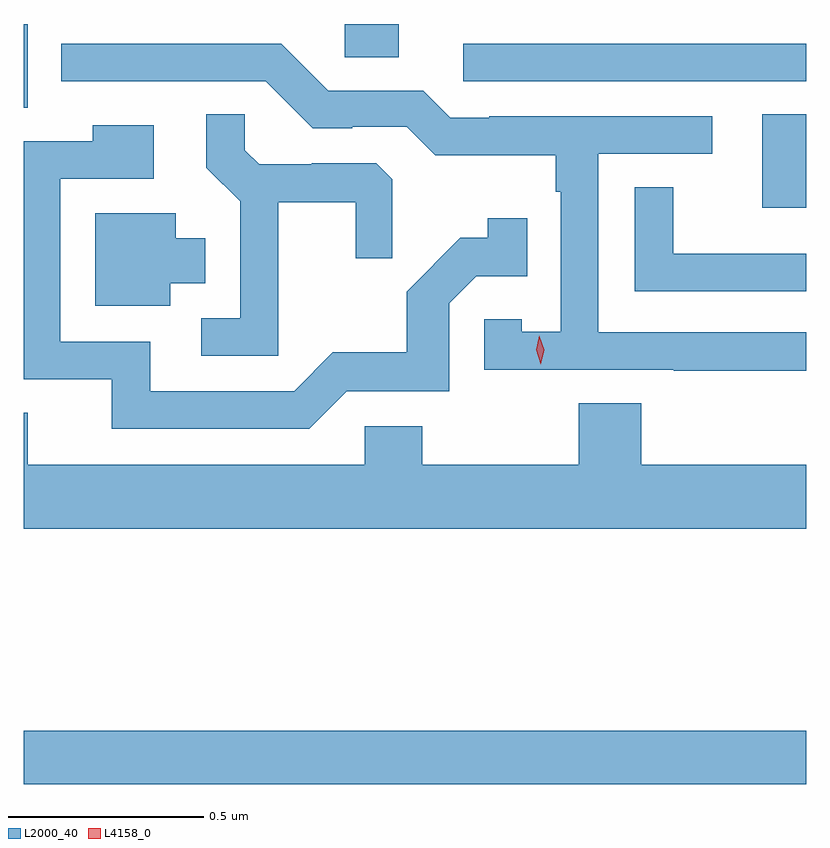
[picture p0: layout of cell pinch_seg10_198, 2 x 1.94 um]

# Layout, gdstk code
import gdstk
lib = gdstk.Library(unit=1e-6, precision=1e-09)
def R(c, l, rs):  # rectangles x0, y0, x1, y1
    for r in rs: c.add(gdstk.rectangle(r[:2], r[2:], *l))
def P(c, l, *ps):  # polygons
    for p in ps: c.add(gdstk.Polygon(p, *l))
L2000_40 = (2000, 40)
L4158_0 = (4158, 0)

pinch_seg10_198 = lib.new_cell('pinch_seg10_198')
R(pinch_seg10_198, L2000_40, [(743,1266.364,745,1266.5), (744.887,1267.836,745,1268.075), (743,1268.092,743.011,1268.306), (744.123,1268.16,745,1268.256), (743.82,1268.221,743.959,1268.306)])
P(pinch_seg10_198, L2000_40, [(745,1267.518),(744.468,1267.518),(744.468,1267.974),(744.76,1267.974),(744.76,1268.07),(744.19,1268.07),(744.19,1268.067),(744.09,1268.067),(744.021,1268.136),(743.778,1268.136),(743.658,1268.256),(743.096,1268.256),(743.096,1268.16),(743.619,1268.16),(743.739,1268.04),(743.84,1268.04),(743.84,1268.043),(743.979,1268.043),(744.052,1267.97),(744.36,1267.97),(744.36,1267.877),(744.372,1267.877),(744.372,1267.519),(744.273,1267.519),(744.273,1267.551),(744.177,1267.551),(744.177,1267.422),(744.661,1267.422),(744.661,1267.42),(745,1267.42)],
  [(743.651,1267.85),(743.848,1267.85),(743.848,1267.707),(743.942,1267.707),(743.942,1267.909),(743.901,1267.95),(743.736,1267.95),(743.736,1267.947),(743.602,1267.947),(743.565,1267.984),(743.565,1268.075),(743.467,1268.075),(743.467,1267.939),(743.553,1267.853),(743.553,1267.554),(743.454,1267.554),(743.454,1267.458),(743.651,1267.458)],
  [(743.826,1267.368),(744.087,1267.368),(744.087,1267.593),(744.156,1267.662),(744.287,1267.662),(744.287,1267.81),(744.186,1267.81),(744.186,1267.76),(744.116,1267.76),(743.979,1267.622),(743.979,1267.467),(743.79,1267.467),(743.691,1267.368),(743.323,1267.368),(743.323,1267.494),(743.094,1267.494),(743.094,1267.911),(743.332,1267.911),(743.332,1268.047),(743.176,1268.047),(743.176,1268.007),(743,1268.007),(743,1267.398),(743.225,1267.398),(743.225,1267.272),(743.73,1267.272)],
  [(745,1267.719),(744.66,1267.719),(744.66,1267.889),(744.561,1267.889),(744.561,1267.623),(745,1267.623)],
  [(743.374,1267.643),(743.464,1267.643),(743.464,1267.759),(743.389,1267.759),(743.389,1267.822),(743.183,1267.822),(743.183,1267.586),(743.374,1267.586)],
  [(745,1267.18),(744.578,1267.18),(744.578,1267.337),(744.418,1267.337),(744.418,1267.18),(744.018,1267.18),(744.018,1267.278),(743.871,1267.278),(743.871,1267.18),(743.011,1267.18),(743.011,1267.313),(743,1267.313),(743,1267.016),(745,1267.016)])
P(pinch_seg10_198, L4158_0, [(744.321,1267.437),(744.321,1267.437),(744.31,1267.473),(744.318,1267.509),(744.318,1267.509),(744.318,1267.509),(744.33,1267.474),(744.321,1267.437)])

lib.write_gds('pinch_seg10_198.gds')
